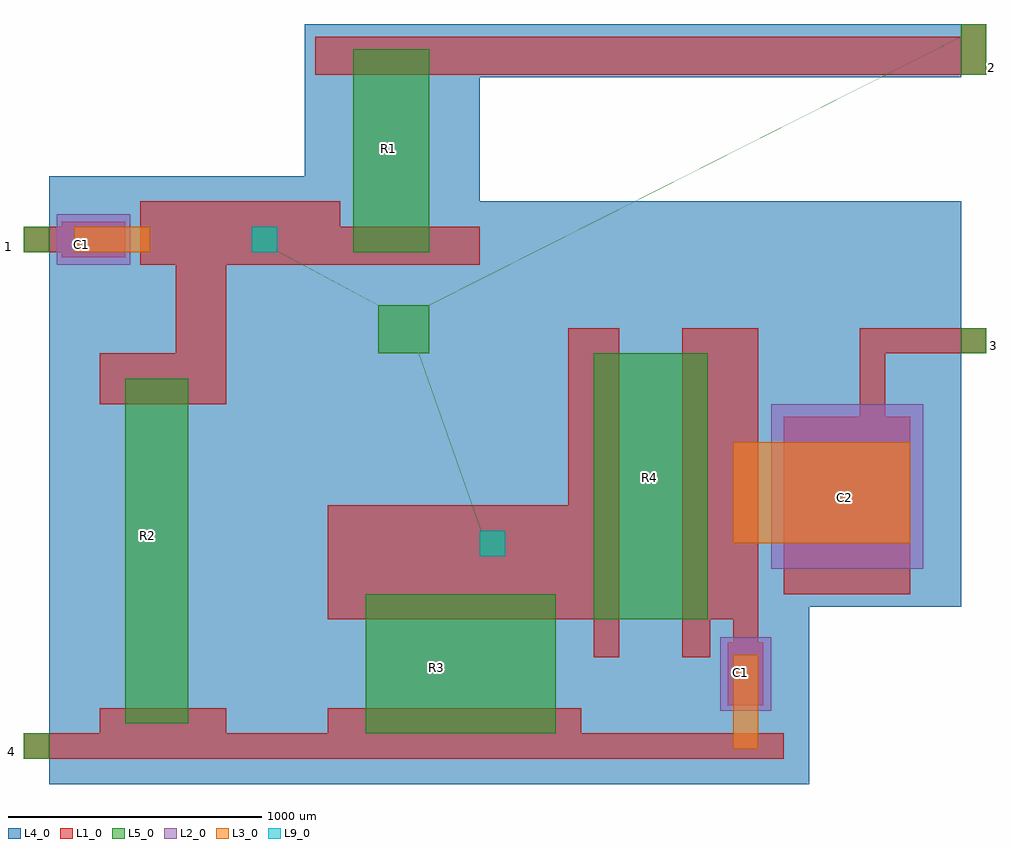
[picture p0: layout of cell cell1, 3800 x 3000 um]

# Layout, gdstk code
import gdstk
lib = gdstk.Library(unit=1e-6, precision=1e-09)
def R(c, l, rs):  # rectangles x0, y0, x1, y1
    for r in rs: c.add(gdstk.rectangle(r[:2], r[2:], *l))
def P(c, l, *ps):  # polygons
    for p in ps: c.add(gdstk.Polygon(p, *l))
L1_0 = (1, 0)
L2_0 = (2, 0)
L3_0 = (3, 0)
L4_0 = (4, 0)
L5_0 = (5, 0)
L9_0 = (9, 0)

cell1 = lib.new_cell('cell1')
P(cell1, L1_0, [(150,900),(150,1050),(2700,1050),(2700,1100),(2800,1100),(2800,900)],
  [(-1000,-1800),(-1000,-1700),(-700,-1700),(-700,-1600),(-200,-1600),(-200,-1700),(200,-1700),(200,-1600),(1200,-1600),(1200,-1700),(2000,-1700),(2000,-1800)],
  [(2000,-1150),(2000,-450),(2300,-450),(2300,-100),(2800,-100),(2800,-200),(2400,-200),(2400,-450),(2500,-450),(2500,-1150)],
  [(-850,180),(-850,200),(-1000,200),(-1000,300),(-850,300),(-850,320),(-600,320),(-600,180)],
  [(-700,-400),(-700,-200),(-400,-200),(-400,150),(-540,150),(-540,400),(250,400),(250,300),(800,300),(800,150),(-200,150),(-200,-400)],
  [(1780,-1590),(1780,-1340),(1800,-1340),(1800,-1250),(1710,-1250),(1710,-1400),(1600,-1400),(1600,-100),(1900,-100),(1900,-1340),(1920,-1340),(1920,-1590)],
  [(1250,-1400),(1250,-1250),(200,-1250),(200,-800),(1150,-800),(1150,-100),(1350,-100),(1350,-1400)])
R(cell1, L2_0, [(1750,-1610,1950,-1320), (1750,-1610,1950,-1320), (1750,-1610,1950,-1320), (1950,-1050,2550,-400), (-870,150,-580,350), (-870,150,-580,350), (-870,150,-580,350)])
R(cell1, L3_0, [(1800,-1760,1900,-1390), (1800,-950,2500,-550), (-800,200,-500,300)])
P(cell1, L4_0, [(-900,-1900),(-900,500),(110,500),(110,1100),(2700,1100),(2700,890),(800,890),(800,400),(2700,400),(2700,-1200),(2100,-1200),(2100,-1900)])
R(cell1, L5_0, [(-1000,-1800,-900,-1700), (350,-1700,1100,-1150), (-600,-1660,-350,-300), (1250,-1250,1700,-200), (800,-1000,900,-900), (800,-1000,900,-900), (400,-200,600,-10), (2700,-200,2800,-100), (-1000,200,-900,300), (-100,200,0,300), (300,200,600,1000), (2700,900,2800,1100)])
P(cell1, L5_0, [(399.977,-10.044),(0,202.189),(0,202.301),(400.023,-9.956)])
R(cell1, L9_0, [(800,-1000,900,-900), (-100,200,0,300)])
cell1.add(gdstk.FlexPath([(400,-10),(-30,220)], 0.1, ends="flush", simple_path=True, layer=5, datatype=0))  # L5_0
cell1.add(gdstk.FlexPath([(560,-200),(820,-940)], 0.1, ends="flush", simple_path=True, layer=5, datatype=0))  # L5_0
cell1.add(gdstk.FlexPath([(600,-10),(2740,1070)], 0.1, ends="flush", simple_path=True, layer=5, datatype=0))  # L5_0
cell1.add(gdstk.Label('4', (-1050,-1770), layer=5, texttype=0))
cell1.add(gdstk.Label('3', (2830,-170), layer=5, texttype=0))
cell1.add(gdstk.Label('2', (2820,930), layer=5, texttype=0))
cell1.add(gdstk.Label('R1', (440,610), layer=5, texttype=0))
cell1.add(gdstk.Label('R4', (1470,-690), layer=5, texttype=0))
cell1.add(gdstk.Label('R3', (630,-1440), layer=5, texttype=0))
cell1.add(gdstk.Label('R2', (-510,-920), layer=5, texttype=0))
cell1.add(gdstk.Label('C1', (-770,230), layer=5, texttype=0))
cell1.add(gdstk.Label('C1', (-770,230), layer=5, texttype=0))
cell1.add(gdstk.Label('C1', (-770,230), layer=5, texttype=0))
cell1.add(gdstk.Label('C2', (2240,-770), layer=5, texttype=0))
cell1.add(gdstk.Label('C1', (1830,-1460), layer=5, texttype=0))
cell1.add(gdstk.Label('1', (-1060,220), layer=5, texttype=0))

lib.write_gds('cell1.gds')
